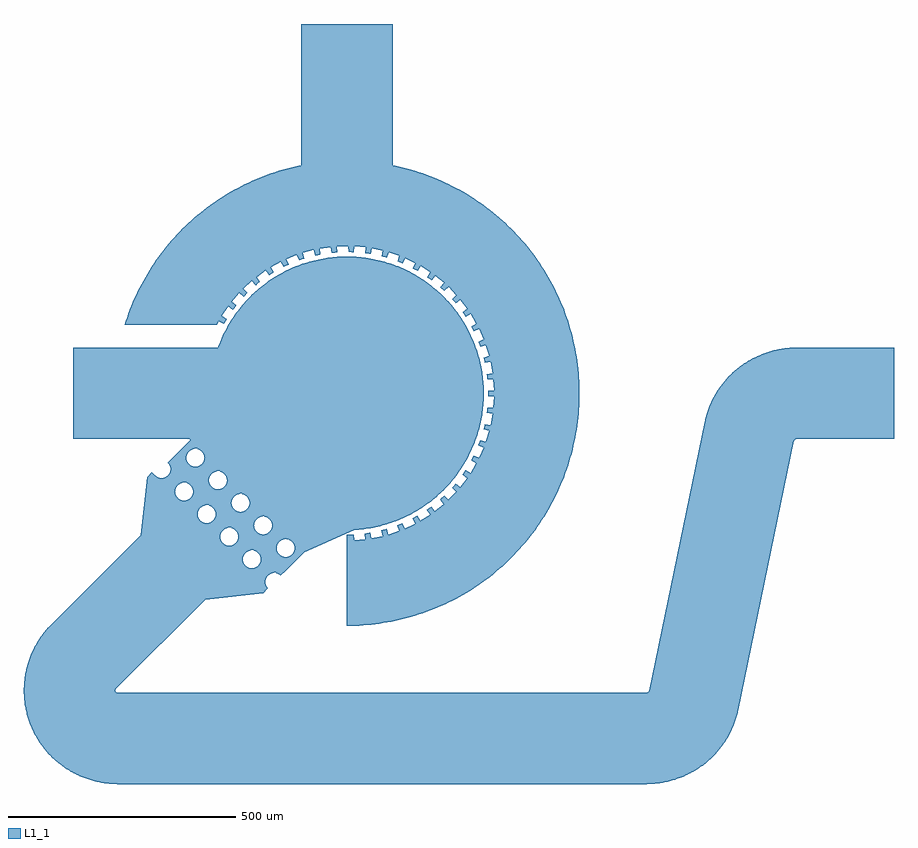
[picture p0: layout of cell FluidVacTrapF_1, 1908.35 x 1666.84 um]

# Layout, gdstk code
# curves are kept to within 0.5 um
from math import pi, radians
import gdstk
lib = gdstk.Library(unit=1e-6, precision=5e-09)
def R(c, l, rs):  # rectangles x0, y0, x1, y1
    for r in rs: c.add(gdstk.rectangle(r[:2], r[2:], *l))
def P(c, l, *ps):  # polygons
    for p in ps: c.add(gdstk.Polygon(p, *l))
L1_1 = (1, 1)

trace_1 = lib.new_cell('TRACE_1')
R(trace_1, L1_1, [(0,-100,600,100)])

structure_1 = lib.new_cell('STRUCTURE_1')
P(structure_1, L1_1, [(0,300),(26.145,298.86),(57.245,294.49),(82.69,288.38),(107.51,280.075),(131.51,269.64),(154.51,257.15),(176.335,242.705),(199.58,223.97),(315,180),(315,-180),(199.58,-223.97),(176.335,-242.705),(154.51,-257.15),(131.51,-269.64),(107.51,-280.075),(82.69,-288.38),(57.245,-294.49),(26.145,-298.86),(0,-300),(-26.145,-298.86),(-57.245,-294.49),(-82.69,-288.38),(-112.38,-278.155),(-140.84,-264.885),(-167.76,-248.71),(-192.835,-229.815),(-212.13,-212.13),(-229.815,-192.835),(-248.71,-167.76),(-264.885,-140.84),(-278.155,-112.38),(-288.38,-82.69),(-294.49,-57.245),(-298.86,-26.145),(-300,0),(-298.86,26.145),(-294.49,57.245),(-288.38,82.69),(-278.155,112.38),(-264.885,140.84),(-248.71,167.76),(-229.815,192.835),(-212.13,212.13),(-192.835,229.815),(-167.76,248.71),(-140.84,264.885),(-112.38,278.155),(-82.69,288.38),(-57.245,294.49),(-26.145,298.86)])

structure_2 = lib.new_cell('STRUCTURE_2')
P(structure_2, L1_1, [(35,15),(35,0),(0,0),(0,70),(35,70),(35,55),(27.51,53.545),(21.105,49.385),(16.59,42.815),(15,35),(16.455,27.51),(20.615,21.105),(27.185,16.59)])

structure_3 = lib.new_cell('STRUCTURE_3')
P(structure_3, L1_1, [(35,55),(35,70),(70,70),(70,0),(35,0),(35,15),(42.49,16.455),(48.895,20.615),(53.41,27.185),(55,35),(53.545,42.49),(49.385,48.895),(42.815,53.41)])

pcell_5 = lib.new_cell('PCELL_5')
pcell_5.add(gdstk.Reference(structure_2, (0,0)))
pcell_5.add(gdstk.Reference(structure_3, (0,0)))

structure_4 = lib.new_cell('STRUCTURE_4')
P(structure_4, L1_1, [(0,55),(0,70),(35,70),(35,0),(0,0),(0,15),(7.49,16.455),(13.895,20.615),(18.41,27.185),(20,35),(18.545,42.49),(14.385,48.895),(7.815,53.41)])

pcell_6 = lib.new_cell('PCELL_6')
pcell_6.add(gdstk.Reference(structure_4, (0,0)))

structure_5 = lib.new_cell('STRUCTURE_5')
P(structure_5, L1_1, [(35,15),(35,0),(0,0),(0,70),(35,70),(35,55),(27.51,53.545),(21.105,49.385),(16.59,42.815),(15,35),(16.455,27.51),(20.615,21.105),(27.185,16.59)])

pcell_7 = lib.new_cell('PCELL_7')
pcell_7.add(gdstk.Reference(structure_5, (0,0)))

pcell_8 = lib.new_cell('PCELL_8')
r = gdstk.Reference(pcell_5, (0,0)); r.repetition = gdstk.Repetition(5, 1, v1=(70,0), v2=(0,0)); pcell_8.add(r)
r = gdstk.Reference(pcell_5, (35,70)); r.repetition = gdstk.Repetition(4, 1, v1=(70,0), v2=(0,0)); pcell_8.add(r)
pcell_8.add(gdstk.Reference(pcell_6, (0,70)))
pcell_8.add(gdstk.Reference(pcell_7, (315,70)))

block_2 = lib.new_cell('BLOCK_2')
P(block_2, L1_1, [(540,100),(440,180),(425,180),(425,-180),(440,-180),(540,-100)])
block_2.add(gdstk.Reference(structure_1, (0,0)))
block_2.add(gdstk.Reference(pcell_8, (300,180), rotation=3*pi/2))

trace_3 = lib.new_cell('TRACE_3')
P(trace_3, L1_1, [(-311.125,-452.55),(-506.94,-648.365),(-508.145,-650.445),(-508.24,-652.84),(-507.15,-655.075),(-505.205,-656.475),(658.635,-656.745),(696.46,-853.14),(678.93,-855.74),(658.125,-856.84),(-503.78,-856.84),(-524.615,-855.735),(-542.18,-853.13),(-562.855,-848.015),(-579.605,-842.13),(-598.94,-833.19),(-620.175,-820.295),(-637.025,-807.26),(-654.845,-789.95),(-668.36,-773.48),(-681.86,-752.625),(-692.745,-730.29),(-699.86,-710.215),(-704.86,-689.505),(-707.935,-664.85),(-708.18,-643.555),(-705.675,-618.835),(-701.16,-598.015),(-693.195,-574.48),(-682.44,-552.08),(-671.125,-534.035),(-662.565,-522.7),(-650.795,-509.41),(-452.55,-311.125)],
  [(658.55,-656.76),(661.38,-655.21),(662.675,-652.43),(786.29,-56.485),(791.225,-39.46),(799.06,-19.69),(807.125,-3.905),(818.56,14.025),(829.465,27.995),(844.08,43.445),(857.435,55.1),(871.74,65.565),(886.9,74.75),(906.05,83.995),(922.67,90.15),(939.76,94.845),(960.71,98.505),(981.925,99.975),(1200,100),(1200,-100),(985.3,-100.005),(982.63,-100.89),(980.825,-103.16),(857.68,-696.9),(853.04,-714.01),(845.55,-733.91),(836.035,-752.93),(824.605,-770.86),(811.375,-787.515),(796.49,-802.705),(782.94,-814.13),(765.455,-826.23),(746.81,-836.46),(730.53,-843.465),(710.285,-849.98),(692.975,-853.78)])

trace_4 = lib.new_cell('TRACE_4')
R(trace_4, L1_1, [(-100,0,100,400)])

fluidvactrapf_1 = lib.new_cell('FluidVacTrapF_1')
P(fluidvactrapf_1, L1_1, [(310,0),(510,0),(508.76,-35.575),(505.035,-70.98),(498.855,-106.035),(490.245,-140.575),(479.245,-174.43),(465.91,-207.435),(450.305,-239.43),(437.155,-262.67),(417.77,-292.525),(401.885,-313.985),(379.005,-341.255),(360.625,-360.625),(334.59,-384.9),(306.925,-407.305),(285.19,-422.81),(255,-441.675),(223.57,-458.385),(191.05,-472.865),(157.6,-485.04),(132,-492.62),(97.315,-500.63),(62.155,-506.2),(35.575,-508.76),(0,-510),(0,-310),(14.545,-309.65),(15.655,-322.36),(40.56,-320.185),(39.45,-307.47),(51.075,-305.75),(53.685,-318.245),(78.16,-313.135),(75.55,-300.65),(86.895,-297.565),(90.96,-309.66),(114.655,-301.69),(110.59,-289.6),(121.49,-285.2),(126.96,-296.72),(149.545,-286.005),(144.075,-274.475),(154.38,-268.82),(161.175,-279.615),(182.335,-266.3),(175.535,-255.5),(185.1,-248.66),(193.125,-258.585),(212.56,-242.86),(204.535,-232.935),(213.22,-225.015),(222.365,-233.915),(239.8,-216.005),(230.66,-207.105),(238.345,-198.21),(248.48,-205.965),(263.675,-186.115),(253.545,-178.36),(260.125,-168.62),(271.1,-175.12),(283.84,-153.61),(272.86,-147.105),(278.245,-136.655),(289.915,-141.815),(300.025,-118.95),(288.35,-113.79),(292.455,-102.775),(304.66,-106.515),(311.99,-82.615),(299.79,-78.875),(302.56,-67.45),(315.12,-69.725),(319.57,-45.12),(307.02,-42.85),(308.42,-31.18),(321.155,-31.95),(322.665,-6.995),(309.93,-6.225)],
  [(-487.435,150),(-479.245,174.43),(-469.455,199.275),(-450.305,239.43),(-427.72,277.765),(-401.885,313.985),(-372.99,347.82),(-341.255,379.005),(-306.925,407.305),(-270.26,432.505),(-231.535,454.415),(-191.05,472.865),(-166.04,482.215),(-140.575,490.245),(-97.315,500.63),(-53.31,507.205),(-8.9,509.92),(35.575,508.76),(79.78,503.72),(123.38,494.85),(149.11,487.715),(174.43,479.245),(215.535,462.215),(255,441.675),(292.525,417.77),(327.82,390.685),(360.625,360.625),(390.685,327.82),(417.77,292.525),(441.675,255),(462.215,215.535),(479.245,174.43),(492.62,132),(502.25,88.56),(508.06,44.45),(510,0),(310,0),(309.95,5.53),(322.68,6.275),(321.23,31.23),(308.485,30.49),(307.11,42.165),(319.675,44.405),(315.275,69.015),(302.71,66.775),(299.965,78.2),(312.175,81.915),(304.895,105.835),(292.69,102.12),(288.605,113.145),(300.29,118.275),(290.235,141.165),(278.555,136.035),(273.195,146.495),(284.185,152.975),(271.49,174.51),(260.5,168.035),(253.945,177.795),(264.09,185.525),(248.94,205.41),(238.785,197.67),(231.12,206.585),(240.285,215.465),(222.885,233.42),(213.72,224.535),(205.055,232.475),(213.105,242.38),(193.705,258.15),(185.655,248.25),(176.11,255.105),(182.93,265.895),(161.8,279.255),(154.985,268.475),(144.69,274.155),(150.185,285.67),(127.625,296.435),(122.13,284.92),(111.24,289.355),(115.33,301.43),(91.655,309.455),(87.56,297.365),(76.22,300.475),(78.86,312.96),(54.4,318.125),(51.76,305.635),(40.135,307.38),(41.275,320.09),(16.375,322.325),(15.235,309.62),(3.485,309.97),(3.115,322.725),(-21.875,322),(-21.505,309.25),(-33.215,308.21),(-35.09,320.83),(-59.82,317.15),(-57.94,304.53),(-69.445,302.12),(-72.805,314.425),(-96.92,307.845),(-93.565,295.53),(-104.7,291.775),(-109.495,303.6),(-132.665,294.215),(-127.87,282.385),(-138.485,277.335),(-144.645,288.515),(-166.54,276.455),(-160.385,265.28),(-170.325,259),(-177.765,269.375),(-198.08,254.805),(-190.65,244.44),(-199.78,237.035),(-208.385,246.45),(-226.835,229.58),(-218.225,220.165),(-226.42,211.735),(-236.08,220.065),(-252.405,201.13),(-242.74,192.795),(-249.875,183.455),(-260.46,190.585),(-274.43,169.855),(-263.845,162.72),(-269.825,152.6),(-281.18,158.43),(-285.51,150)])
fluidvactrapf_1.add(gdstk.Reference(trace_1, (-600,0)))
fluidvactrapf_1.add(gdstk.Reference(block_2, (0,0), rotation=radians(225)))
fluidvactrapf_1.add(gdstk.Reference(trace_3, (0,0)))
fluidvactrapf_1.add(gdstk.Reference(trace_4, (0,410)))

lib.write_gds('FluidVacTrapF_1.gds')
